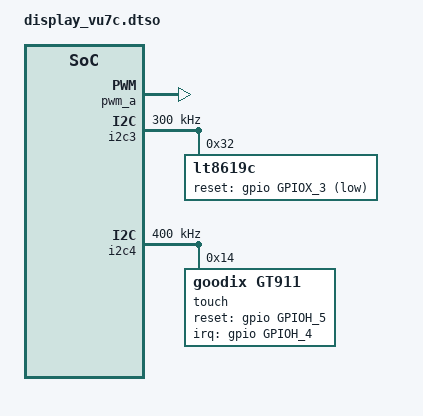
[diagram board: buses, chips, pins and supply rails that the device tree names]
/*
 * arch/arm64/boot/dts/amlogic/overlays/odroidc4/display_vu7c.dtso
 *
 * Copyright (C) 2022 Hardkernel, Inc. All rights reserved.
 *
 * This program is free software; you can redistribute it and/or modify
 * it under the terms of the GNU General Public License as published by
 * the Free Software Foundation; either version 2 of the License, or
 * (at your option) any later version.
 *
 * This program is distributed in the hope that it will be useful, but WITHOUT
 * ANY WARRANTY; without even the implied warranty of MERCHANTABILITY or
 * FITNESS FOR A PARTICULAR PURPOSE.  See the GNU General Public License for
 * more details.
 *
 */

/dts-v1/;
/plugin/;

#include <dt-bindings/gpio/meson-s7d-gpio.h>
#include <dt-bindings/gpio/gpio.h>

#include <dt-bindings/pwm/meson.h>
#include <dt-bindings/pwm/pwm.h>

#include <dt-bindings/interrupt-controller/irq.h>

&drm_subsystem {
	display-timings {
		native-mode = <&timing0>;

		fixed-display;

		timing0: 1024x600p60hz_vu7c {
			clock-frequency = <51200000>;
			hactive = <1024>;
			vactive = <600>;
			hfront-porch = <8>;
			hsync-len = <144>;
			hback-porch = <168>;
			vfront-porch = <3>;
			vsync-len = <6>;
			vback-porch = <26>;
			hsync-active = <1>;
			vsync-active = <1>;
			width_mm = <153>;
			height_mm = <86>;
		};
	};
};

&amhdmitx {
	force_hpd;
	voutmode = "dvi";
};

&pwm_a {
	status = "okay";
	pinctrl-names = "default";
	pinctrl-0 = <&pwm_a_gpio_x6>;
};

&i2c3 {
	status = "okay";
	pinctrl-names = "default";
	pinctrl-0 = <&i2c3_pins1>;
	clock-frequency = <300000>; /* default 100k */

	#address-cells = <1>;
	#size-cells = <0>;

	lt8619c: hdmi-bridge@32 {
		compatible = "lt8619c";
		reg = <0x32>;
		reset-gpios = <&gpio GPIOX_3 GPIO_ACTIVE_LOW>;
		pwm = <&pwm_a MESON_PWM_0 40000 0>;
		default-brightness-level = <100>;
	 };
};

&i2c4 {
	status = "okay";
	pinctrl-names = "default";
	pinctrl-0 = <&i2c4_pins2>;
	clock-frequency = <400000>; /* default 400k */

	#address-cells = <1>;
	#size-cells = <0>;

	touch: gt9xx@14 {
		compatible = "goodix,gt911";
		status = "okay";
		reg = <0x14>;
		interrupt-parent = <&gpio_intc>;
		interrupts = <33 IRQ_TYPE_EDGE_FALLING>;
		reset-gpios = <&gpio GPIOH_5 GPIO_ACTIVE_HIGH>;
		irq-gpios = <&gpio GPIOH_4 0>;
	};
};
